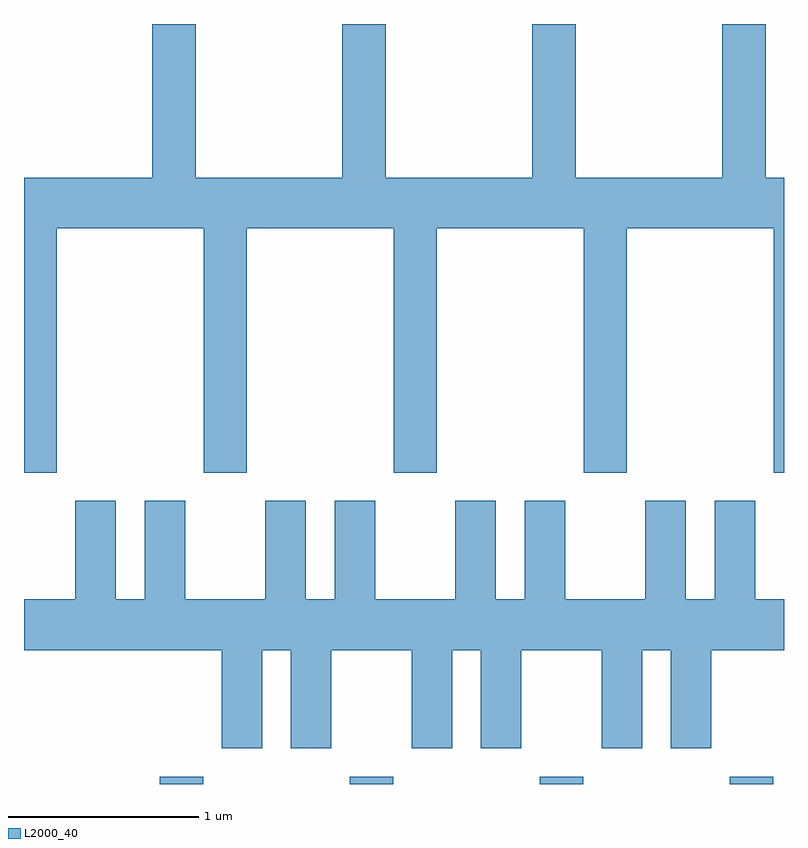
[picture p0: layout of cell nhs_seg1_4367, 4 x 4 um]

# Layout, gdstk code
import gdstk
lib = gdstk.Library(unit=1e-6, precision=1e-09)
def R(c, l, rs):  # rectangles x0, y0, x1, y1
    for r in rs: c.add(gdstk.rectangle(r[:2], r[2:], *l))
def A(c, l, x, y, w, h, nx, ny, dx, dy):  # array of equal rectangles
    R(c, l, [(x+i*dx, y+j*dy, x+i*dx+w, y+j*dy+h) for i in range(nx) for j in range(ny)])
def P(c, l, *ps):  # polygons
    for p in ps: c.add(gdstk.Polygon(p, *l))
L2000_40 = (2000, 40)

nhs_seg1_4367 = lib.new_cell('nhs_seg1_4367')
A(nhs_seg1_4367, L2000_40, 316.326, 947.712, 0.228, 0.037, 4, 1, 1, 0)
P(nhs_seg1_4367, L2000_40, [(315.784,950.636),(316.556,950.636),(316.556,949.351),(316.784,949.351),(316.784,950.636),(317.556,950.636),(317.556,949.351),(317.784,949.351),(317.784,950.636),(318.556,950.636),(318.556,949.351),(318.784,949.351),(318.784,950.636),(319.556,950.636),(319.556,949.351),(319.611,949.351),(319.611,950.904),(319.514,950.904),(319.514,951.712),(319.286,951.712),(319.286,950.904),(318.514,950.904),(318.514,951.712),(318.286,951.712),(318.286,950.904),(317.514,950.904),(317.514,951.712),(317.286,951.712),(317.286,950.904),(316.514,950.904),(316.514,951.712),(316.286,951.712),(316.286,950.904),(315.611,950.904),(315.611,949.351),(315.784,949.351)],
  [(316.864,948.416),(317.016,948.416),(317.016,947.901),(317.229,947.901),(317.229,948.416),(317.651,948.416),(317.651,947.901),(317.864,947.901),(317.864,948.416),(318.016,948.416),(318.016,947.901),(318.229,947.901),(318.229,948.416),(318.651,948.416),(318.651,947.901),(318.864,947.901),(318.864,948.416),(319.016,948.416),(319.016,947.901),(319.229,947.901),(319.229,948.416),(319.611,948.416),(319.611,948.684),(319.459,948.684),(319.459,949.204),(319.246,949.204),(319.246,948.684),(319.094,948.684),(319.094,949.204),(318.881,949.204),(318.881,948.684),(318.459,948.684),(318.459,949.204),(318.246,949.204),(318.246,948.684),(318.094,948.684),(318.094,949.204),(317.881,949.204),(317.881,948.684),(317.459,948.684),(317.459,949.204),(317.246,949.204),(317.246,948.684),(317.094,948.684),(317.094,949.204),(316.881,949.204),(316.881,948.684),(316.459,948.684),(316.459,949.204),(316.246,949.204),(316.246,948.684),(316.094,948.684),(316.094,949.204),(315.881,949.204),(315.881,948.684),(315.611,948.684),(315.611,948.416),(316.651,948.416),(316.651,947.901),(316.864,947.901)])

lib.write_gds('nhs_seg1_4367.gds')
